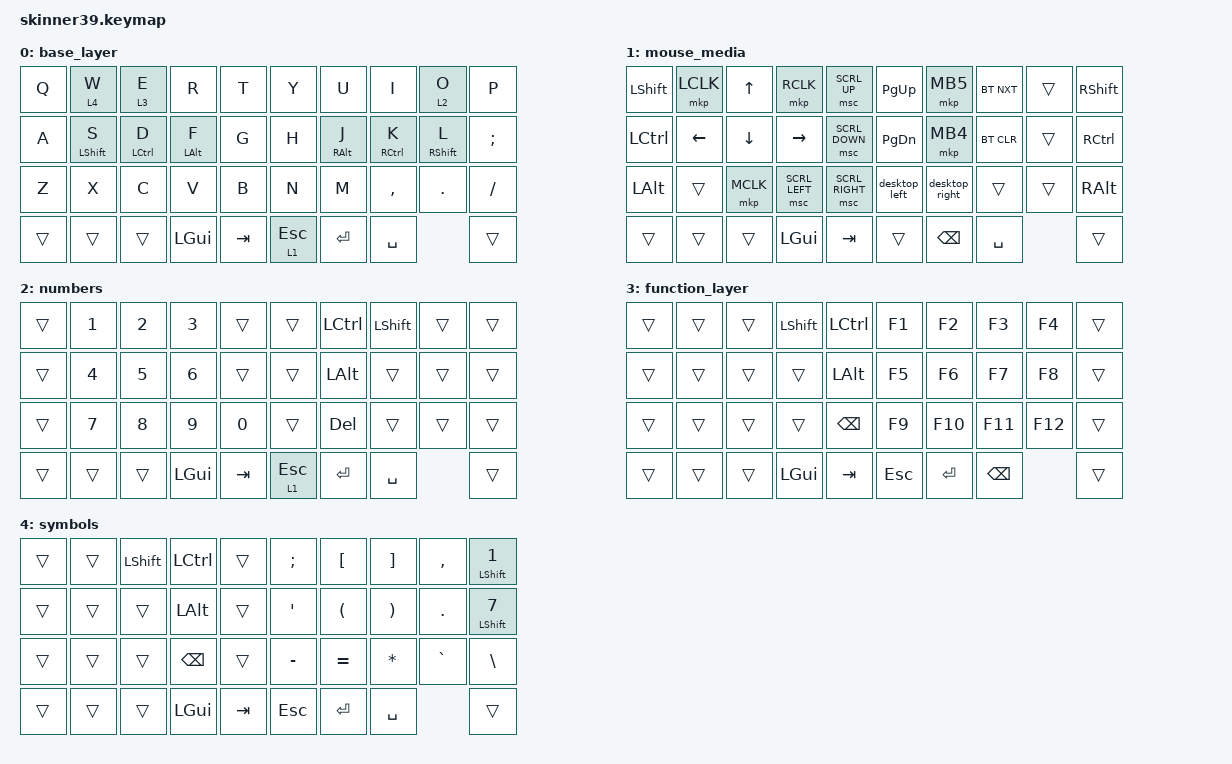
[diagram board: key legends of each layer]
#include <behaviors.dtsi>
#include <dt-bindings/zmk/bt.h>
#include <dt-bindings/zmk/keys.h>
#include <dt-bindings/zmk/pointing.h>

/ {
    macros {
        desktop_right: desktop_right {
            compatible = "zmk,behavior-macro";
            #binding-cells = <0>;
            bindings = <&kt LCTRL &kp RIGHT &kt LCTRL>;
            label = "DESKTOP_RIGHT";
        };

        desktop_left: desktop_left {
            compatible = "zmk,behavior-macro";
            #binding-cells = <0>;
            bindings = <&kt LCTRL &kp LEFT &kt LCTRL>;
            label = "DESKTOP_LEFT";
        };
    };

    keymap {
        compatible = "zmk,keymap";

        base_layer {
            bindings = <
  &kp Q   &lt 4 W           &lt 3 E             &kp R           &kp T                             &kp Y      &kp U            &kp I                &lt 2 O            &kp P
  &kp A   &mt LEFT_SHIFT S  &mt LEFT_CONTROL D  &mt LEFT_ALT F  &kp G                             &kp H      &mt RIGHT_ALT J  &mt RIGHT_CONTROL K  &mt RIGHT_SHIFT L  &kp SEMI
  &kp Z   &kp X             &kp C               &kp V           &kp B                             &kp N      &kp M            &kp COMMA            &kp PERIOD         &kp SLASH
  &trans  &trans            &trans              &kp LGUI        &kp TAB  &lt 1 ESCAPE  &kp ENTER  &kp SPACE                                                           &trans
            >;
        };

        mouse_media {
            bindings = <
  &kp LEFT_SHIFT  &mkp LCLK  &kp UP_ARROW    &mkp RCLK        &msc SCRL_UP                            &kp PAGE_UP    &mkp MB5        &bt BT_NXT  &trans  &kp RSHFT
  &kp LCTRL       &kp LEFT   &kp DOWN_ARROW  &kp RIGHT_ARROW  &msc SCRL_DOWN                          &kp PAGE_DOWN  &mkp MB4        &bt BT_CLR  &trans  &kp RCTRL
  &kp LALT        &trans     &mkp MCLK       &msc SCRL_LEFT   &msc SCRL_RIGHT                         &desktop_left  &desktop_right  &trans      &trans  &kp RALT
  &trans          &trans     &trans          &kp LEFT_GUI     &kp TAB          &trans  &kp BACKSPACE  &kp SPACE                                          &trans
            >;
        };

        numbers {
            bindings = <
  &trans  &kp N1  &kp N2  &kp N3    &trans                         &trans     &kp LCTRL  &kp LEFT_SHIFT  &trans  &trans
  &trans  &kp N4  &kp N5  &kp N6    &trans                         &trans     &kp LALT   &trans          &trans  &trans
  &trans  &kp N7  &kp N8  &kp N9    &kp N0                         &trans     &kp DEL    &trans          &trans  &trans
  &trans  &trans  &trans  &kp LGUI  &kp TAB  &lt 1 ESC  &kp ENTER  &kp SPACE                                     &trans
            >;
        };

        function_layer {
            bindings = <
  &trans  &trans  &trans  &kp LSHFT  &kp LCTRL                      &kp F1    &kp F2   &kp F3   &kp F4   &trans
  &trans  &trans  &trans  &trans     &kp LALT                       &kp F5    &kp F6   &kp F7   &kp F8   &trans
  &trans  &trans  &trans  &trans     &kp BSPC                       &kp F9    &kp F10  &kp F11  &kp F12  &trans
  &trans  &trans  &trans  &kp LGUI   &kp TAB    &kp ESC  &kp ENTER  &kp BSPC                             &trans
            >;
        };

        symbols {
            bindings = <
  &trans  &trans  &kp LSHFT  &kp LCTRL  &trans                       &kp SEMI   &kp LBKT              &kp RBKT               &kp COMMA  &mt LEFT_SHIFT NUMBER_1
  &trans  &trans  &trans     &kp LALT   &trans                       &kp APOS   &kp LEFT_PARENTHESIS  &kp RIGHT_PARENTHESIS  &kp DOT    &mt LSHFT N7
  &trans  &trans  &trans     &kp BSPC   &trans                       &kp MINUS  &kp EQUAL             &kp ASTERISK           &kp GRAVE  &kp BSLH
  &trans  &trans  &trans     &kp LGUI   &kp TAB  &kp ESC  &kp ENTER  &kp SPACE                                                          &trans
            >;
        };
    };
};
